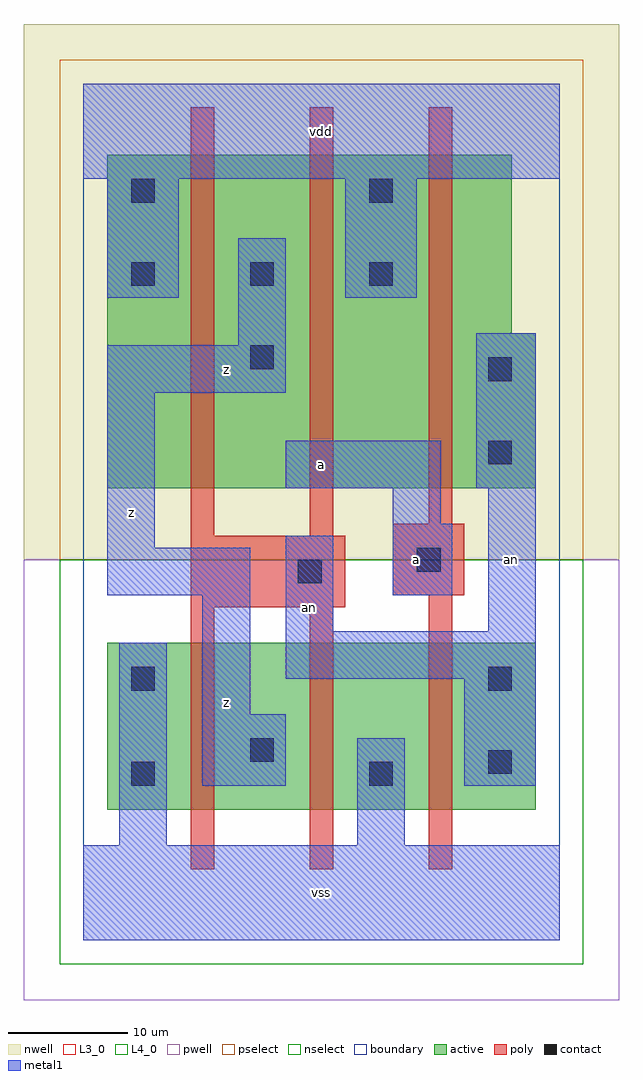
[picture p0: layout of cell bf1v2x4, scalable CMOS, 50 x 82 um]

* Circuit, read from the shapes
.subckt bf1v2x4 a an vdd vss z
M1 z an vss VSUBS nfet w=14u l=2u m=2
M2 an a vss VSUBS nfet w=14u l=2u
M3 z an vdd n1 pfet w=28u l=2u m=2
M4 an a vdd n1 pfet w=28u l=2u
.ends

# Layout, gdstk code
import gdstk
lib = gdstk.Library(unit=1e-6, precision=1e-09)
def R(c, l, rs):  # rectangles x0, y0, x1, y1
    for r in rs: c.add(gdstk.rectangle(r[:2], r[2:], *l))
def A(c, l, x, y, w, h, nx, ny, dx, dy):  # array of equal rectangles
    R(c, l, [(x+i*dx, y+j*dy, x+i*dx+w, y+j*dy+h) for i in range(nx) for j in range(ny)])
L3_0 = (3, 0)
L4_0 = (4, 0)
contact = (25, 0)
pwell = (41, 0)
nwell = (42, 0)
active = (43, 0)
pselect = (44, 0)
nselect = (45, 0)
poly = (46, 0)
metal1 = (49, 0)
boundary = (63, 0)

bf1v2x4 = lib.new_cell('bf1v2x4')
R(bf1v2x4, L3_0, [(2,11,38,25)])
R(bf1v2x4, L4_0, [(2,38,38,51), (2,51,36,66)])
A(bf1v2x4, contact, 4, 55, 2, 2, 3, 1, 10, 0)
R(bf1v2x4, contact, [(4,13,6,15), (24,13,26,15), (34,14,36,16), (14,15,16,17), (4,21,6,23), (34,21,36,23), (18,30,20,32), (28,31,30,33), (34,40,36,42), (34,47,36,49), (14,48,16,50), (4,62,6,64), (24,62,26,64)])
R(bf1v2x4, pwell, [(-5,-5,45,32)])
R(bf1v2x4, nwell, [(-5,32,45,77)])
R(bf1v2x4, active, [(2,11,38,25), (2,38,38,51), (2,51,36,66)])
R(bf1v2x4, pselect, [(-2,32,42,74)])
R(bf1v2x4, nselect, [(-2,-2,42,32)])
R(bf1v2x4, poly, [(9,6,11,28), (19,6,21,28), (29,6,31,29), (9,28,22,34), (26,29,32,35), (9,34,11,70), (19,34,21,70), (29,35,31,70)])
R(bf1v2x4, metal1, [(0,0,40,8), (3,8,7,25), (23,8,27,17), (10,13,17,19), (32,13,38,22), (10,19,14,29), (17,22,38,26), (17,26,21,34), (34,26,38,38), (2,29,14,33), (26,29,31,35), (2,33,6,46), (26,35,30,38), (17,38,30,42), (33,38,38,51), (2,46,17,50), (13,50,17,59), (2,54,8,64), (22,54,28,64), (0,64,40,72)])
R(bf1v2x4, boundary, [(0,0,40,72)])
bf1v2x4.add(gdstk.Label('an', (19,28), layer=49, texttype=0))
bf1v2x4.add(gdstk.Label('an', (36,32), layer=49, texttype=0))
bf1v2x4.add(gdstk.Label('z', (4,36), layer=49, texttype=0))
bf1v2x4.add(gdstk.Label('z', (12,20), layer=49, texttype=0))
bf1v2x4.add(gdstk.Label('z', (12,48), layer=49, texttype=0))
bf1v2x4.add(gdstk.Label('vss', (20,4), layer=49, texttype=0))
bf1v2x4.add(gdstk.Label('a', (28,32), layer=49, texttype=0))
bf1v2x4.add(gdstk.Label('a', (20,40), layer=49, texttype=0))
bf1v2x4.add(gdstk.Label('vdd', (20,68), layer=49, texttype=0))

lib.write_gds('bf1v2x4.gds')
